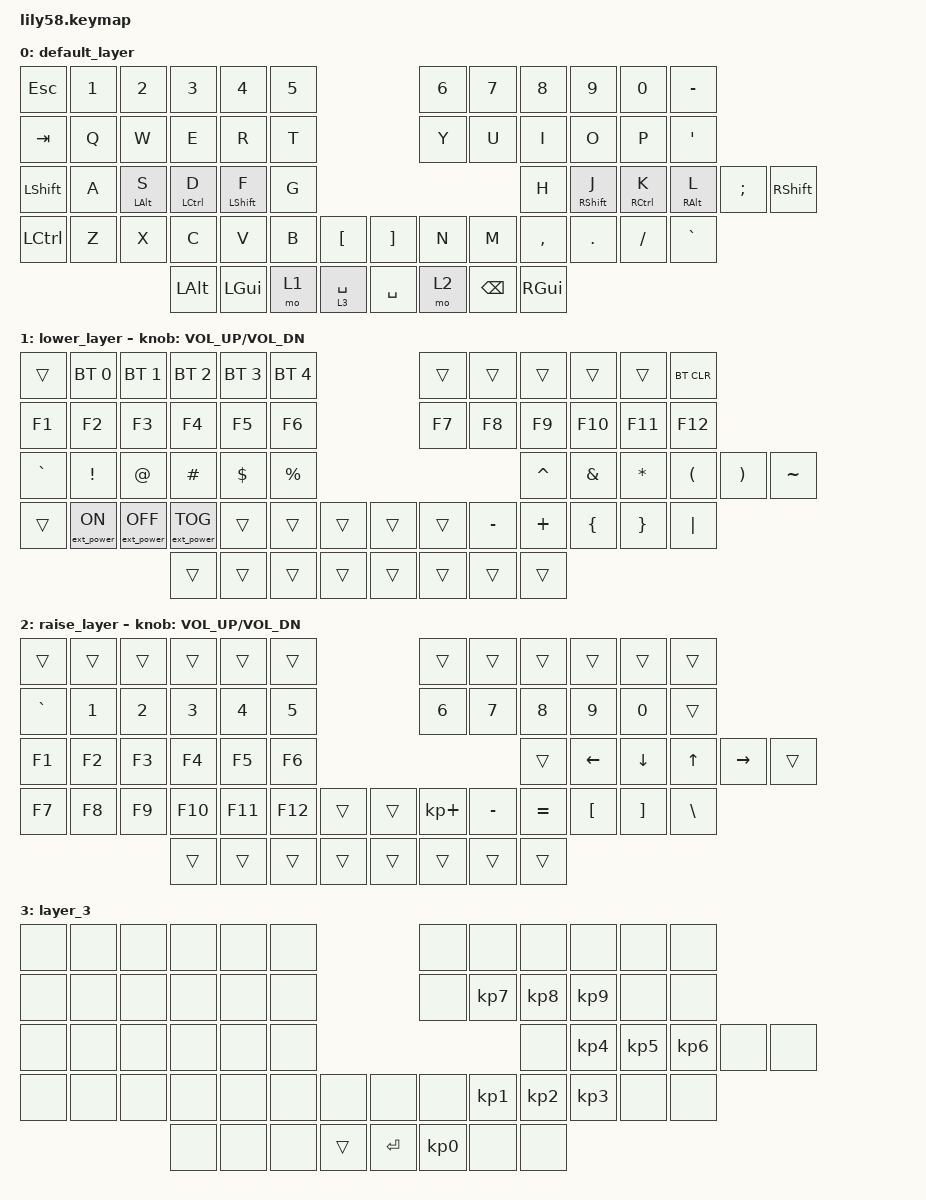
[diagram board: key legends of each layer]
/*
 * Copyright (c) 2020 The ZMK Contributors
 *
 * SPDX-License-Identifier: MIT
 */

#include <behaviors.dtsi>
#include <dt-bindings/zmk/bt.h>
#include <dt-bindings/zmk/ext_power.h>
#include <dt-bindings/zmk/keys.h>
#include <dt-bindings/zmk/pointing.h>

/ {
    keymap {
        compatible = "zmk,keymap";

        default_layer {
            // ------------------------------------------------------------------------------------------------------------
            // |  ESC  |  1  |  2  |  3   |  4   |  5   |                   |  6   |  7    |  8    |  9   |   0   |   `   |
            // |  TAB  |  Q  |  W  |  E   |  R   |  T   |                   |  Y   |  U    |  I    |  O   |   P   |   -   |
            // |  CTRL |  A  |  S  |  D   |  F   |  G   |                   |  H   |  J    |  K    |  L   |   ;   |   '   |
            // | SHIFT |  Z  |  X  |  C   |  V   |  B   |   "["  |  |  "]"  |  N   |  M    |  ,    |  .   |   /   | SHIFT |
            //                     | ALT  | GUI  | LOWER|  SPACE |  | ENTER | RAISE| BSPC  | GUI   |

            bindings = <
&kp ESC         &kp N1  &kp N2  &kp N3    &kp N4    &kp N5                            &kp N6  &kp N7    &kp N8     &kp N9   &kp N0    &kp MINUS
&kp TAB         &kp Q   &kp W   &kp E     &kp R     &kp T                             &kp Y   &kp U     &kp I      &kp O    &kp P     &kp SQT
&kp LEFT_SHIFT  &kp A   &mt LALT S   &mt LCTRL D   &mt LSHIFT F     &kp G             &kp H   &mt RSHIFT J     &mt RCTRL K      &mt RALT L    &kp SEMI  &kp RSHIFT
&kp LCTRL       &kp Z   &kp X   &kp C     &kp V     &kp B   &kp LBKT       &kp RBKT   &kp N   &kp M     &kp COMMA  &kp DOT  &kp FSLH  &kp GRAVE
                                &kp LALT  &kp LGUI  &mo 1   &lt 3 SPACE    &kp SPACE  &mo 2   &kp BSPC  &kp RGUI
            >;
        };

        lower_layer {
            // ------------------------------------------------------------------------------------------------------------
            // | BTCLR | BT1 | BT2 |  BT3 |  BT4 |  BT5 |                   |      |       |       |      |       |       |
            // |  F1   |  F2 |  F3 |  F4  |  F5  |  F6  |                   |  F7  |  F8   |  F9   |  F10 |  F11  |  F12  |
            // |   `   |  !  |  @  |  #   |  $   |  %   |                   |  ^   |  &    |  *    |  (   |   )   |   ~   |
            // |       |     |     |      |      |      |        |  |       |      |  _    |  +    |  {   |   }   |  "|"  |
            //                     |      |      |      |        |  |       |      |       |       |

            bindings = <
&trans     &bt BT_SEL 0      &bt BT_SEL 1       &bt BT_SEL 2       &bt BT_SEL 3  &bt BT_SEL 4                    &trans     &trans     &trans     &trans    &trans    &bt BT_CLR
&kp F1     &kp F2            &kp F3             &kp F4             &kp F5        &kp F6                          &kp F7     &kp F8     &kp F9     &kp F10   &kp F11   &kp F12
&kp GRAVE  &kp EXCL          &kp AT             &kp HASH           &kp DOLLAR    &kp PRCNT                       &kp CARET  &kp AMPS   &kp ASTRK  &kp LPAR  &kp RPAR  &kp TILDE
&trans     &ext_power EP_ON  &ext_power EP_OFF  &ext_power EP_TOG  &trans        &trans        &trans    &trans  &trans     &kp MINUS  &kp PLUS   &kp LBRC  &kp RBRC  &kp PIPE
                                                &trans             &trans        &trans        &trans    &trans  &trans     &trans     &trans
            >;

            sensor-bindings = <&inc_dec_kp C_VOL_UP C_VOL_DN>;
        };

        raise_layer {
            // ------------------------------------------------------------------------------------------------------------
            // |       |     |     |      |      |      |                   |      |       |       |      |       |       |
            // |   `   |  1  |  2  |  3   |  4   |  5   |                   |  6   |   7   |   8   |  9   |   0   |       |
            // |   F1  |  F2 |  F3 |  F4  |  F5  |  F6  |                   |      |   <-  |   v   |  ^   |  ->   |       |
            // |   F7  |  F8 |  F9 |  F10 |  F11 |  F12 |        |  |       |  +   |   -   |   =   |  [   |   ]   |   \   |
            //                     |      |      |      |        |  |       |      |       |       |

            bindings = <
&trans     &trans  &trans  &trans   &trans   &trans                     &trans       &trans     &trans     &trans    &trans     &trans
&kp GRAVE  &kp N1  &kp N2  &kp N3   &kp N4   &kp N5                     &kp N6       &kp N7     &kp N8     &kp N9    &kp N0     &trans
&kp F1     &kp F2  &kp F3  &kp F4   &kp F5   &kp F6                     &trans       &kp LEFT   &kp DOWN   &kp UP    &kp RIGHT  &trans
&kp F7     &kp F8  &kp F9  &kp F10  &kp F11  &kp F12  &trans    &trans  &kp KP_PLUS  &kp MINUS  &kp EQUAL  &kp LBKT  &kp RBKT   &kp BSLH
                           &trans   &trans   &trans   &trans    &trans  &trans       &trans     &trans
            >;

            sensor-bindings = <&inc_dec_kp C_VOL_UP C_VOL_DN>;
        };

        layer_3 {
            bindings = <
&none  &none  &none  &none  &none  &none                       &none            &none            &none            &none            &none  &none
&none  &none  &none  &none  &none  &none                       &none            &kp KP_NUMBER_7  &kp KP_NUMBER_8  &kp KP_NUMBER_9  &none  &none
&none  &none  &none  &none  &none  &none                       &none            &kp KP_NUMBER_4  &kp KP_NUMBER_5  &kp KP_NUMBER_6  &none  &none
&none  &none  &none  &none  &none  &none  &none     &none      &none            &kp KP_NUMBER_1  &kp KP_NUMBER_2  &kp KP_NUMBER_3  &none  &none
                     &none  &none  &none  &trans    &kp ENTER  &kp KP_NUMBER_0  &none            &none
            >;
        };
    };

    conditional_layers { compatible = "zmk,conditional-layers"; };
};
